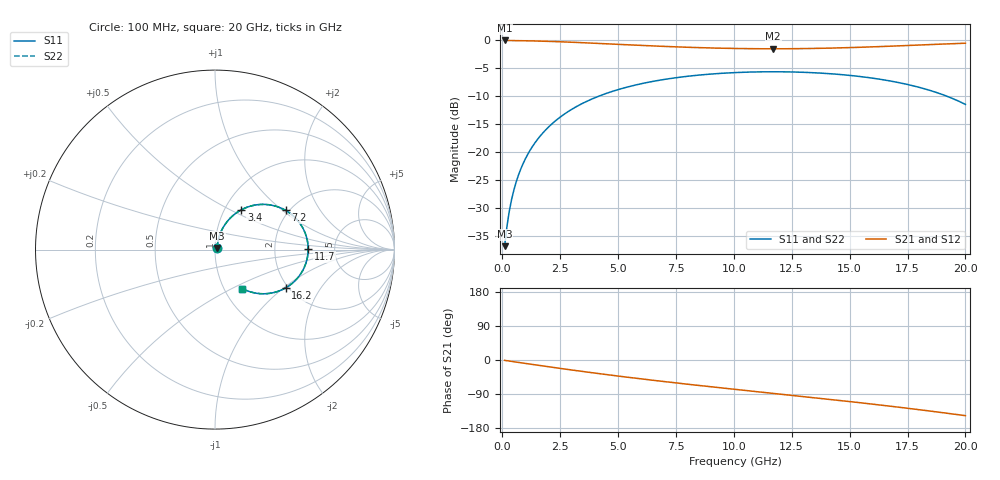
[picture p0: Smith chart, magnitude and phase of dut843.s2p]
! Touchstone file exported from HFSS 2026.1.0
!  File:  C:/ffzhzh/LocalFiles/Ansys_Project_Files/temp_train_TSV_RDL_843_1783268318_38820.aedt
!  Generated:  12:29:19 AM Jul  6, 2026
!  Design:  TSV_RDL
!  Project:  temp_train_TSV_RDL_843_1783268318_38820
! Variables:
!  h_bsmrdl = 2.41um
!  h_ox = 20um
!  h_rdl = 5um
!  h_sub = 51.86um
!  h_tmrdl = 5.04um
!  h_tsv = 51.86um
!  h_via = 3um
!  l_bsmrdl = 131.82um
!  l_sub = 2737.89um
!  l_tmrdl = 450.17um
!  m_sub = 200um
!  pitch = 47.66um
!  r_tsv = 4.9um
!  s_tmrdl = 10um
!  w_bsmrdl = 25.19um
!  w_sub = 500um
!  w_tmrdl = 22.06um
!  x_tsv_center1 = 461.2um
!  x_tsv_center2 = 618.21um
!  x_tsv_center3 = 1090.44um
!  x_tsv_center4 = 1247.45um
!  x_tsv_center5 = 1719.68um
!  x_tsv_center6 = 1876.69um
# GHz S MA R 50.000000
! Terminal data exported
! Port[1] = TM_RDL1_1_T1
! Port[2] = TM_RDL5_1_T1
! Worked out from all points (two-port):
!   200 points, 100 MHz to 20 GHz, reference 50 ohm
!   highest |S21| = -0.10 dB at 100 MHz (marker M1); lowest = -1.6 dB at 11.7 GHz (marker M2)
!   |S21| within 3 dB of the highest: start of sweep to end of sweep
!   lowest |S11| = -36.9 dB at 100 MHz (marker M3), VSWR 1.03, Z = 51.1 + j0.927 ohm
!   |S11| at or under -10 dB: start of sweep to 4.208 GHz; 19.16 GHz to end of sweep
!   |S22| runs from -36.9 to -5.7 dB; largest |S21 - S12| = 3.5e-13
!   S11 on the Smith chart (normalised r, x): 100 MHz: 1.02, +0.02; 3.4 GHz: 1.20, +0.57; 7.2 GHz: 1.92, +1.05; 11.7 GHz: 3.16, +0.03; 16.2 GHz: 1.94, -1.03; 20 GHz: 1.21, -0.57
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0.1  0.01429 39.4  0.9891 -0.9  0.9891 -0.9  0.01429 39.4
! Gamma 0 0 0 0
! Port Impedance 50 0 50 0
0.2  0.0214 56.0  0.9885 -1.9  0.9885 -1.9  0.0214 56.0
0.3  0.02922 63.4  0.9878 -2.8  0.9878 -2.8  0.02922 63.4
0.5  0.04539 69.6  0.9866 -4.6  0.9866 -4.6  0.04539 69.6
0.8  0.07009 72.1  0.9847 -7.3  0.9847 -7.3  0.07009 72.1
1.1  0.09479 71.9  0.9821 -10.0  0.9821 -10.0  0.09479 71.9
1.6  0.1352 69.5  0.9765 -14.4  0.9765 -14.4  0.1352 69.5
2.1  0.1741 66.2  0.9694 -18.8  0.9694 -18.8  0.1741 66.2
2.7  0.2185 61.8  0.9593 -23.9  0.9593 -23.9  0.2185 61.8
3.4  0.2664 56.4  0.946 -29.7  0.946 -29.7  0.2664 56.4
3.5  0.2729 55.7  0.944 -30.5  0.944 -30.5  0.2729 55.7
5  0.3593 44.5  0.913 -42.4  0.913 -42.4  0.3593 44.5
6.8  0.4365 31.8  0.8783 -55.6  0.8783 -55.6  0.4365 31.8
7.2  0.4499 29.1  0.8716 -58.4  0.8716 -58.4  0.4499 29.1
8.7  0.4891 19.2  0.8506 -68.6  0.8506 -68.6  0.4891 19.2
10.1  0.5108 10.3  0.8382 -77.8  0.8382 -77.8  0.5108 10.3
11.7  0.5192 0.4  0.8332 -88.1  0.8332 -88.1  0.5192 0.4
13.4  0.5093 -10.2  0.8387 -99.0  0.8387 -99.0  0.5093 -10.2
16.2  0.4485 -28.3  0.8699 -117.9  0.8699 -117.9  0.4485 -28.3
16.7  0.4313 -31.7  0.8778 -121.5  0.8778 -121.5  0.4313 -31.7
18.5  0.352 -44.2  0.909 -134.9  0.909 -134.9  0.352 -44.3
20  0.2651 -54.9  0.9345 -146.9  0.9345 -146.9  0.2651 -55.0
